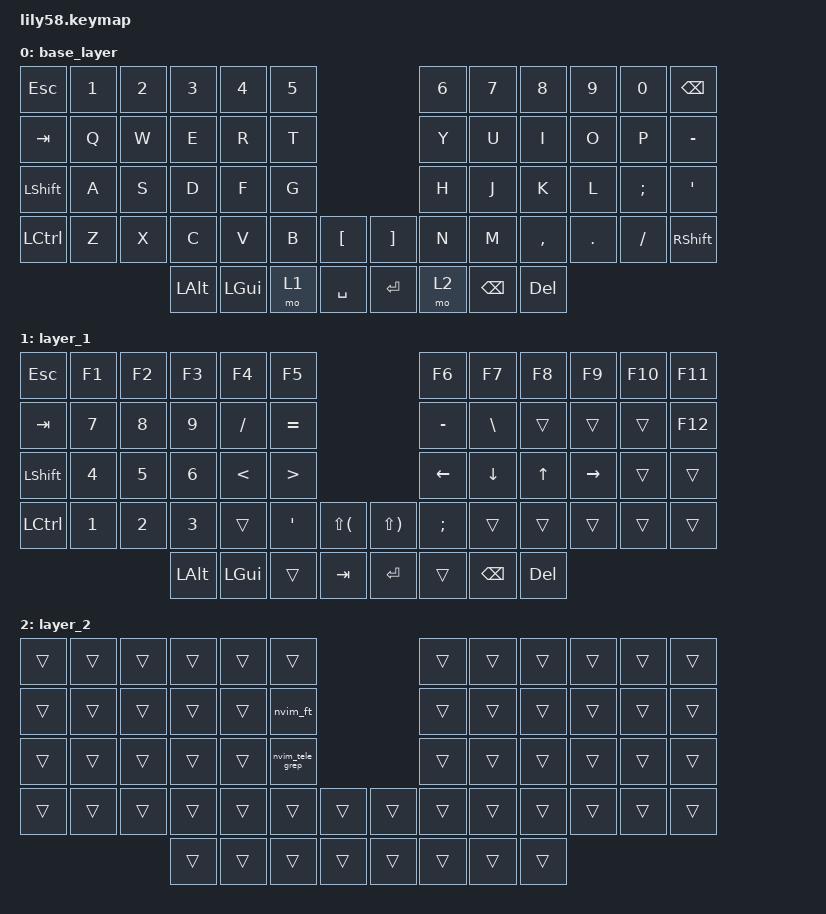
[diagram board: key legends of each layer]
/*
 * Copyright (c) 2020 The ZMK Contributors
 *
 * SPDX-License-Identifier: MIT
 */

#include <behaviors.dtsi>
#include <dt-bindings/zmk/keys.h>

/ {
    macros {
        nvim_ft: nvim_ft {
            compatible = "zmk,behavior-macro";
            #binding-cells = <0>;
            bindings =
                <&kp SPACE>,
                <&macro_wait_time 100>,
                <&kp F>,
                <&macro_wait_time 100>,
                <&kp T>;

            label = "NVIM_FT";
        };

        nvim_tele_grep: nvim_tele_grep {
            compatible = "zmk,behavior-macro";
            #binding-cells = <0>;
            bindings =
                <&kp SPACE>,
                <&macro_wait_time 100>,
                <&kp F>,
                <&macro_wait_time 100>,
                <&kp G>;

            label = "NVIM_TELE_GREP";
        };
    };

    keymap {
        compatible = "zmk,keymap";

        base_layer {
            bindings = <
&kp ESC    &kp N1  &kp N2  &kp N3    &kp N4    &kp N5                          &kp N6  &kp N7         &kp N8     &kp N9   &kp N0    &kp BSPC
&kp TAB    &kp Q   &kp W   &kp E     &kp R     &kp T                           &kp Y   &kp U          &kp I      &kp O    &kp P     &kp MINUS
&kp LSHFT  &kp A   &kp S   &kp D     &kp F     &kp G                           &kp H   &kp J          &kp K      &kp L    &kp SEMI  &kp APOS
&kp LCTRL  &kp Z   &kp X   &kp C     &kp V     &kp B   &kp LBKT     &kp RBKT   &kp N   &kp M          &kp COMMA  &kp DOT  &kp FSLH  &kp RSHFT
                           &kp LALT  &kp LGUI  &mo 1   &kp SPACE    &kp ENTER  &mo 2   &kp BACKSPACE  &kp DEL
            >;
        };

        layer_1 {
            bindings = <
&kp ESC           &kp F1        &kp F2        &kp F3        &kp F4         &kp F5                                          &kp F6     &kp F7         &kp F8   &kp F9     &kp F10  &kp F11
&kp TAB           &kp N7        &kp N8        &kp N9        &kp FSLH       &kp EQUAL                                       &kp MINUS  &kp BSLH       &trans   &trans     &trans   &kp F12
&kp LEFT_SHIFT    &kp NUMBER_4  &kp N5        &kp NUMBER_6  &kp LESS_THAN  &kp GREATER_THAN                                &kp LEFT   &kp DOWN       &kp UP   &kp RIGHT  &trans   &trans
&kp LEFT_CONTROL  &kp NUMBER_1  &kp NUMBER_2  &kp NUMBER_3  &trans         &kp APOS          &kp LS(LPAR)    &kp LS(RPAR)  &kp SEMI   &trans         &trans   &trans     &trans   &trans
                                              &kp LEFT_ALT  &kp LEFT_GUI   &trans            &kp TAB         &kp ENTER     &trans     &kp BACKSPACE  &kp DEL
            >;
        };

        layer_2 {
            bindings = <
&trans  &trans  &trans  &trans  &trans  &trans                             &trans  &trans  &trans  &trans  &trans  &trans
&trans  &trans  &trans  &trans  &trans  &nvim_ft                           &trans  &trans  &trans  &trans  &trans  &trans
&trans  &trans  &trans  &trans  &trans  &nvim_tele_grep                    &trans  &trans  &trans  &trans  &trans  &trans
&trans  &trans  &trans  &trans  &trans  &trans           &trans    &trans  &trans  &trans  &trans  &trans  &trans  &trans
                        &trans  &trans  &trans           &trans    &trans  &trans  &trans  &trans
            >;
        };
    };
};
